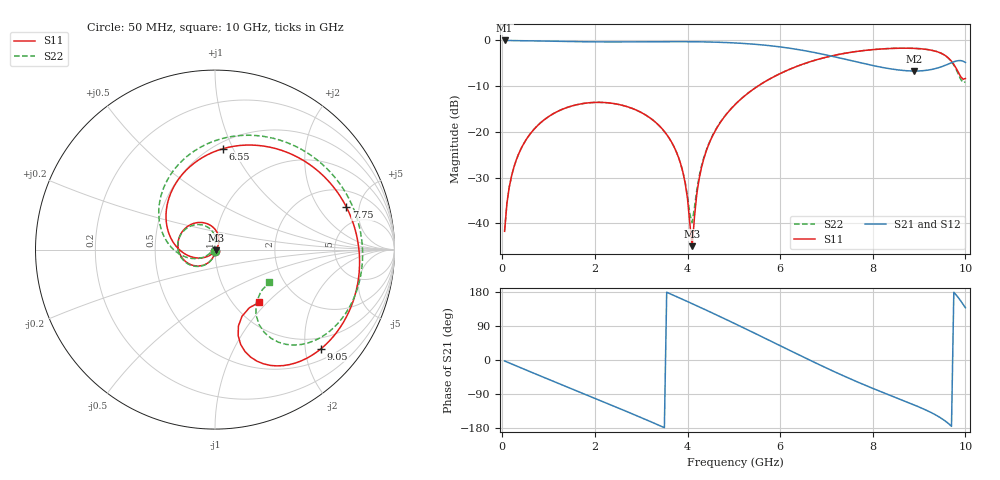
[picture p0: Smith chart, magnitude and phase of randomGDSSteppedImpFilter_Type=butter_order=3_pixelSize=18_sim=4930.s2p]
! freq	dB(S11)	phase(S11)	dB(S12)	phase(S12)
!  dB(S21)	phase(S21)	dB(S22)	phase(S22)
!S-par simulation data
#  GHz  S  DB  R 50
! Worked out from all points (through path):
!   200 points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, 50 MHz to 10 GHz, reference 50 ohm
!   highest |S21| = 0.00 dB at 50 MHz (marker M1); lowest = -6.7 dB at 8.9 GHz (marker M2)
!   group delay of S21, straight-line fit = 154 ps
!   lowest |S11| = -45.0 dB at 4.1 GHz (marker M3), VSWR 1.01, Z = 50.4 - j0.398 ohm
!   |S11| at or under -10 dB: start of sweep to 5.518 GHz
!   |S22| runs from -41.5 to -1.7 dB; largest |S21 - S12| = 0
!   S11 on the Smith chart (normalised r, x): 50 MHz: 1.00, -0.02; 6.55 GHz: 0.55, +0.91; 7.75 GHz: 3.17, +3.70; 9.05 GHz: 0.73, -2.34; 10 GHz: 1.30, -0.90
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0.05  -41.74 -90.9  -0.00 -2.6  -0.00 -2.6  -41.54 -91.9
0.2  -29.63 -100.5  -0.02 -10.3  -0.02 -10.3  -29.64 -100.1
0.5  -21.94 -116.6  -0.06 -25.7  -0.06 -25.7  -21.94 -115.8
1.15  -15.75 -150.4  -0.19 -58.7  -0.19 -58.7  -15.75 -148.5
1.75  -13.78 178.9  -0.29 -88.7  -0.29 -88.7  -13.78 -178.0
2.5  -13.97 140.1  -0.33 -126.4  -0.33 -126.4  -13.97 145.5
3.4  -18.77 90.8  -0.28 -173.2  -0.28 -173.2  -18.78 102.3
3.9  -28.82 57.3  -0.27 159.7  -0.27 159.7  -28.73 86.9
4.1  -44.99 -44.5  -0.28 148.7  -0.28 148.7  -39.80 159.5
4.2  -33.60 -118.0  -0.29 143.1  -0.29 143.1  -32.69 -149.9
4.35  -25.92 -135.2  -0.31 134.6  -0.31 134.6  -25.67 -143.7
5.05  -13.79 178.6  -0.56 94.3  -0.56 94.3  -13.75 -174.2
5.9  -7.75 125.5  -1.29 43.8  -1.29 43.8  -7.74 138.6
6.55  -4.97 85.5  -2.28 4.9  -2.28 4.9  -4.98 101.3
6.7  -4.48 76.5  -2.56 -3.9  -2.56 -3.9  -4.49 92.8
7.75  -2.28 18.0  -4.93 -62.1  -4.93 -62.1  -2.28 36.0
8.35  -1.77 -11.2  -6.16 -92.1  -6.16 -92.1  -1.76 6.8
8.9  -1.74 -36.2  -6.69 -119.0  -6.69 -119.0  -1.72 -18.5
9.05  -1.84 -43.0  -6.64 -126.7  -6.64 -126.7  -1.82 -25.4
9.6  -3.55 -69.4  -5.30 -164.3  -5.30 -164.3  -3.59 -53.0
9.85  -7.02 -73.0  -4.41 164.2  -4.41 164.2  -7.41 -57.7
10  -8.33 -50.0  -4.81 137.9  -4.81 137.9  -9.06 -31.2
